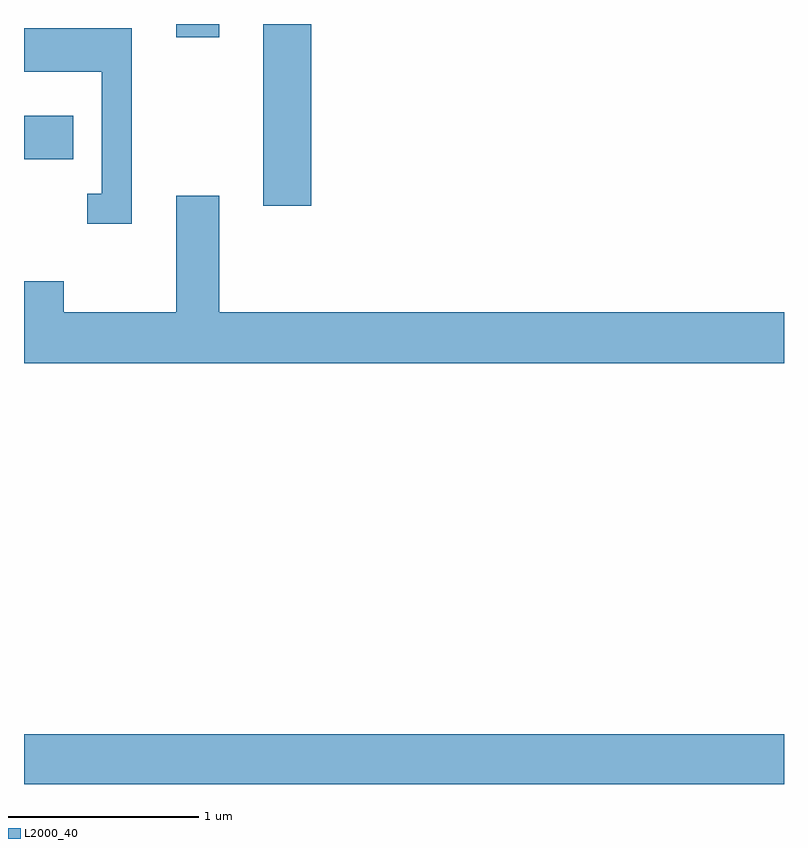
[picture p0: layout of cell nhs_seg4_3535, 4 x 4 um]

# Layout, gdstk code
import gdstk
lib = gdstk.Library(unit=1e-6, precision=1e-09)
def R(c, l, rs):  # rectangles x0, y0, x1, y1
    for r in rs: c.add(gdstk.rectangle(r[:2], r[2:], *l))
def P(c, l, *ps):  # polygons
    for p in ps: c.add(gdstk.Polygon(p, *l))
L2000_40 = (2000, 40)

nhs_seg4_3535 = lib.new_cell('nhs_seg4_3535')
R(nhs_seg4_3535, L2000_40, [(287.611,1387.982,291.611,1388.244), (288.871,1391.026,289.124,1391.982), (287.611,1391.271,287.869,1391.499), (288.411,1391.911,288.639,1391.982)])
P(nhs_seg4_3535, L2000_40, [(288.179,1391.959),(287.611,1391.959),(287.611,1391.731),(288.021,1391.731),(288.021,1391.089),(287.943,1391.089),(287.943,1390.931),(288.179,1390.931)],
  [(291.611,1390.464),(288.639,1390.464),(288.639,1391.079),(288.411,1391.079),(288.411,1390.464),(287.819,1390.464),(287.819,1390.629),(287.611,1390.629),(287.611,1390.196),(291.611,1390.196)])

lib.write_gds('nhs_seg4_3535.gds')
